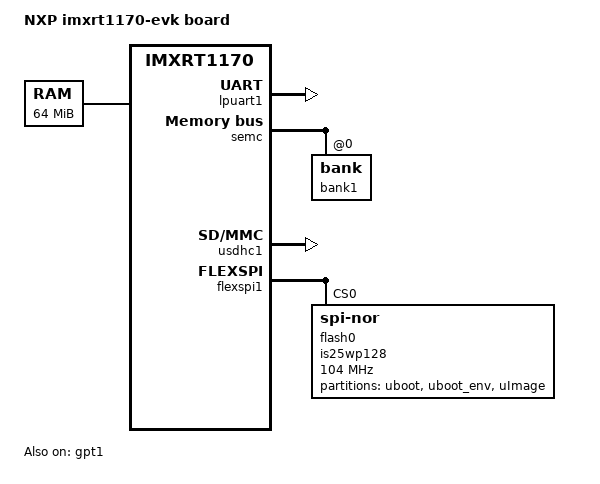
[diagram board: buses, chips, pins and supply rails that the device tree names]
// SPDX-License-Identifier: (GPL-2.0+ OR BSD-3-Clause)
/*
 * Copyright (C) 2022
 * Author(s): Jesse Taube <Mr.Bossman075@gmail.com>
 * Giulio Benetti <giulio.benetti@benettiengineering.com>
 */

/dts-v1/;
#include "imxrt1170.dtsi"
#include "imxrt1170-evk-u-boot.dtsi"
#include "imxrt1170-pinfunc.h"

/ {
	model = "NXP imxrt1170-evk board";
	compatible = "fsl,imxrt1170-evk", "fsl,imxrt1170";

	chosen {
		stdout-path = "serial0:115200n8";
		tick-timer = &gpt1;
	};

	memory {
		#address-cells = <1>;
		#size-cells = <1>;
		device_type = "memory";
		reg = <0x80000000 0x4000000>;
	};
};

&lpuart1 { /* console */
	pinctrl-names = "default";
	pinctrl-0 = <&pinctrl_lpuart1>;
	status = "okay";
};

&semc {
	assigned-clocks = <&clks IMXRT1170_CLK_PLL2_PFD1>, <&clks IMXRT1170_CLK_ROOT_SEMC>;
	assigned-clock-parents = <&clks IMXRT1170_CLK_PLL2>, <&clks IMXRT1170_CLK_PLL2_PFD1>;
	assigned-clock-rates = <594000000>, <198000000>;

	/*
	 * Memory configuration from sdram datasheet IS42S16160J-6BLI
	 */
	fsl,sdram-mux = /bits/ 8 <MUX_A8_SDRAM_A8
				0
				0
				0
				0
				0>;
	fsl,sdram-control = /bits/ 8 <MEM_WIDTH_32BITS
					BL_8
					COL_9BITS
					CL_3>;
	fsl,sdram-timing = /bits/ 8 <0x2
				     0x2
				     0xd
				     0x0
				     0x8
				     0x7

				     0x0d
				     0x0b
				     0x00
				     0x00

				     0x00
				     0x0A
				     0x08
				     0x09>;

	bank1: bank@0 {
		fsl,base-address = <0x80000000>;
		fsl,memory-size = <MEM_SIZE_64M>;
	};
};

&iomuxc {
	pinctrl-names = "default";
	pinctrl-0 = <&pinctrl_lpuart1>;

	imxrt1170-evk {
		pinctrl_lpuart1: lpuart1grp {
			fsl,pins = <
				IOMUXC_GPIO_AD_24_LPUART1_TXD (MXRT1170_PAD_DSE | MXRT1170_PAD_PUE)
				IOMUXC_GPIO_AD_25_LPUART1_RXD (MXRT1170_PAD_DSE | MXRT1170_PAD_PUE)
			>;
		};

		pinctrl_usdhc0: usdhc0grp {
			fsl,pins = <
				IOMUXC_GPIO_AD_34_USDHC1_VSELECT	(0x6)
				IOMUXC_GPIO_SD_B1_00_USDHC1_CMD		(IMX_PAD_SION | 0x4)
				IOMUXC_GPIO_SD_B1_01_USDHC1_CLK		(IMX_PAD_SION | 0xc)
				IOMUXC_GPIO_SD_B1_05_USDHC1_DATA3	(IMX_PAD_SION | 0x4)
				IOMUXC_GPIO_SD_B1_04_USDHC1_DATA2	(IMX_PAD_SION | 0x4)
				IOMUXC_GPIO_SD_B1_03_USDHC1_DATA1	(IMX_PAD_SION | 0x4)
				IOMUXC_GPIO_SD_B1_02_USDHC1_DATA0	(IMX_PAD_SION | 0x4)
			>;
		};
		pinctrl_semc: semcgrp {
			fsl,pins = <
				IOMUXC_GPIO_EMC_B1_00_SEMC_DATA00
					8	/* SEMC_D0 */
				IOMUXC_GPIO_EMC_B1_01_SEMC_DATA01
					8	/* SEMC_D1 */
				IOMUXC_GPIO_EMC_B1_02_SEMC_DATA02
					8	/* SEMC_D2 */
				IOMUXC_GPIO_EMC_B1_03_SEMC_DATA03
					8	/* SEMC_D3 */
				IOMUXC_GPIO_EMC_B1_04_SEMC_DATA04
					8	/* SEMC_D4 */
				IOMUXC_GPIO_EMC_B1_05_SEMC_DATA05
					8	/* SEMC_D5 */
				IOMUXC_GPIO_EMC_B1_06_SEMC_DATA06
					8	/* SEMC_D6 */
				IOMUXC_GPIO_EMC_B1_07_SEMC_DATA07
					8	/* SEMC_D7 */
				IOMUXC_GPIO_EMC_B1_08_SEMC_DM00
					8	/* SEMC_DM0 */
				IOMUXC_GPIO_EMC_B1_09_SEMC_ADDR00
					8	/* SEMC_A0 */
				IOMUXC_GPIO_EMC_B1_10_SEMC_ADDR01
					8	/* SEMC_A1 */
				IOMUXC_GPIO_EMC_B1_11_SEMC_ADDR02
					8	/* SEMC_A2 */
				IOMUXC_GPIO_EMC_B1_12_SEMC_ADDR03
					8	/* SEMC_A3 */
				IOMUXC_GPIO_EMC_B1_13_SEMC_ADDR04
					8	/* SEMC_A4 */
				IOMUXC_GPIO_EMC_B1_14_SEMC_ADDR05
					8	/* SEMC_A5 */
				IOMUXC_GPIO_EMC_B1_15_SEMC_ADDR06
					8	/* SEMC_A6 */
				IOMUXC_GPIO_EMC_B1_16_SEMC_ADDR07
					8	/* SEMC_A7 */
				IOMUXC_GPIO_EMC_B1_17_SEMC_ADDR08
					8	/* SEMC_A8 */
				IOMUXC_GPIO_EMC_B1_18_SEMC_ADDR09
					8	/* SEMC_A9 */
				IOMUXC_GPIO_EMC_B1_19_SEMC_ADDR11
					8	/* SEMC_A11 */
				IOMUXC_GPIO_EMC_B1_20_SEMC_ADDR12
					8	/* SEMC_A12 */
				IOMUXC_GPIO_EMC_B1_21_SEMC_BA0
					8	/* SEMC_BA0 */
				IOMUXC_GPIO_EMC_B1_22_SEMC_BA1
					8	/* SEMC_BA1 */
				IOMUXC_GPIO_EMC_B1_23_SEMC_ADDR10
					8	/* SEMC_A10 */
				IOMUXC_GPIO_EMC_B1_24_SEMC_CAS
					8	/* SEMC_CAS */
				IOMUXC_GPIO_EMC_B1_25_SEMC_RAS
					8	/* SEMC_RAS */
				IOMUXC_GPIO_EMC_B1_26_SEMC_CLK
					8	/* SEMC_CLK */
				IOMUXC_GPIO_EMC_B1_27_SEMC_CKE
					8	/* SEMC_CKE */
				IOMUXC_GPIO_EMC_B1_28_SEMC_WE
					8	/* SEMC_WE */
				IOMUXC_GPIO_EMC_B1_29_SEMC_CS0
					8	/* SEMC_CS0 */
				IOMUXC_GPIO_EMC_B1_30_SEMC_DATA08
					8	/* SEMC_D8 */
				IOMUXC_GPIO_EMC_B1_31_SEMC_DATA09
					8	/* SEMC_D9 */
				IOMUXC_GPIO_EMC_B1_32_SEMC_DATA10
					8	/* SEMC_D10 */
				IOMUXC_GPIO_EMC_B1_33_SEMC_DATA11
					8	/* SEMC_D11 */
				IOMUXC_GPIO_EMC_B1_34_SEMC_DATA12
					8	/* SEMC_D12 */
				IOMUXC_GPIO_EMC_B1_35_SEMC_DATA13
					8	/* SEMC_D13 */
				IOMUXC_GPIO_EMC_B1_36_SEMC_DATA14
					8	/* SEMC_D14 */
				IOMUXC_GPIO_EMC_B1_37_SEMC_DATA15
					8	/* SEMC_D15 */
				IOMUXC_GPIO_EMC_B1_08_SEMC_DM00
					8	/* SEMC_DM00 */
				IOMUXC_GPIO_EMC_B1_38_SEMC_DM01
					8	/* SEMC_DM01 */
				IOMUXC_GPIO_EMC_B2_08_SEMC_DM02
					4	/* SEMC_DM02 */
				IOMUXC_GPIO_EMC_B2_17_SEMC_DM03
					8	/* SEMC_DM03 */
				IOMUXC_GPIO_EMC_B2_00_SEMC_DATA16
					8	/* SEMC_D16 */
				IOMUXC_GPIO_EMC_B2_01_SEMC_DATA17
					8	/* SEMC_D17 */
				IOMUXC_GPIO_EMC_B2_02_SEMC_DATA18
					8	/* SEMC_D18 */
				IOMUXC_GPIO_EMC_B2_03_SEMC_DATA19
					8	/* SEMC_D19 */
				IOMUXC_GPIO_EMC_B2_04_SEMC_DATA20
					8	/* SEMC_D20 */
				IOMUXC_GPIO_EMC_B2_05_SEMC_DATA21
					8	/* SEMC_D21 */
				IOMUXC_GPIO_EMC_B2_06_SEMC_DATA22
					8	/* SEMC_D22 */
				IOMUXC_GPIO_EMC_B2_07_SEMC_DATA23
					8	/* SEMC_D23 */
				IOMUXC_GPIO_EMC_B2_09_SEMC_DATA24
					8	/* SEMC_D24 */
				IOMUXC_GPIO_EMC_B2_10_SEMC_DATA25
					8	/* SEMC_D25 */
				IOMUXC_GPIO_EMC_B2_11_SEMC_DATA26
					4	/* SEMC_D26 */
				IOMUXC_GPIO_EMC_B2_12_SEMC_DATA27
					8	/* SEMC_D27 */
				IOMUXC_GPIO_EMC_B2_13_SEMC_DATA28
					8	/* SEMC_D28 */
				IOMUXC_GPIO_EMC_B2_14_SEMC_DATA29
					8	/* SEMC_D29 */
				IOMUXC_GPIO_EMC_B2_15_SEMC_DATA30
					8	/* SEMC_D30 */
				IOMUXC_GPIO_EMC_B2_16_SEMC_DATA31
					8	/* SEMC_D31 */
				IOMUXC_GPIO_EMC_B1_39_SEMC_DQS
					(IMX_PAD_SION | 8)	/* SEMC_DQS */
			>;
		};


		pinctrl_flexspi1: flexspi1grp {
			fsl,pins = <
				IOMUXC_GPIO_SD_B2_05_FLEXSPI1_A_DQS	(IMX_PAD_SION | 0x08)
				IOMUXC_GPIO_SD_B2_06_FLEXSPI1_A_SS0_B	(IMX_PAD_SION | 0x0a)
				IOMUXC_GPIO_SD_B2_07_FLEXSPI1_A_SCLK	(IMX_PAD_SION | 0x0a)
				IOMUXC_GPIO_SD_B2_08_FLEXSPI1_A_DATA00	(IMX_PAD_SION | 0x0a)
				IOMUXC_GPIO_SD_B2_09_FLEXSPI1_A_DATA01	(IMX_PAD_SION | 0x0a)
				IOMUXC_GPIO_SD_B2_10_FLEXSPI1_A_DATA02	(IMX_PAD_SION | 0x0a)
				IOMUXC_GPIO_SD_B2_11_FLEXSPI1_A_DATA03	(IMX_PAD_SION | 0x0a)
			>;
		};
	};
};

&gpt1 {
	status = "okay";
};

&usdhc1 {
	pinctrl-names = "default", "state_100mhz", "state_200mhz", "sleep";
	pinctrl-0 = <&pinctrl_usdhc0>;
	pinctrl-1 = <&pinctrl_usdhc0>;
	pinctrl-2 = <&pinctrl_usdhc0>;
	pinctrl-3 = <&pinctrl_usdhc0>;
	status = "okay";
	broken-cd;
};

&flexspi1 {
       pinctrl-names = "default";
       pinctrl-0 = <&pinctrl_flexspi1>;
       nxp-flexspi,rx-clk-loopback-from-dqs;
       status = "okay";

       assigned-clocks = <&clks IMXRT1170_CLK_ROOT_FLEXSPI1>;
       assigned-clock-parents = <&clks IMXRT1170_CLK_PLL2_PFD2>;

       flash0: is25wp128@0 {
               #address-cells = <1>;
               #size-cells = <1>;
               reg = <0>;
               compatible = "jedec,spi-nor";
               spi-max-frequency = <104000000>;
               spi-tx-bus-width = <4>;
               spi-rx-bus-width = <4>;
               partition@0 {
                       label = "uboot";
                       reg = <0x0 0x60000>; };

               partition@1 {
                       label = "uboot_env";
                       reg = <0x60000 0x20000>; };

               partition@2 {
                       label = "uImage";
                       reg = <0x80000 0x780000>; };
       };
};
